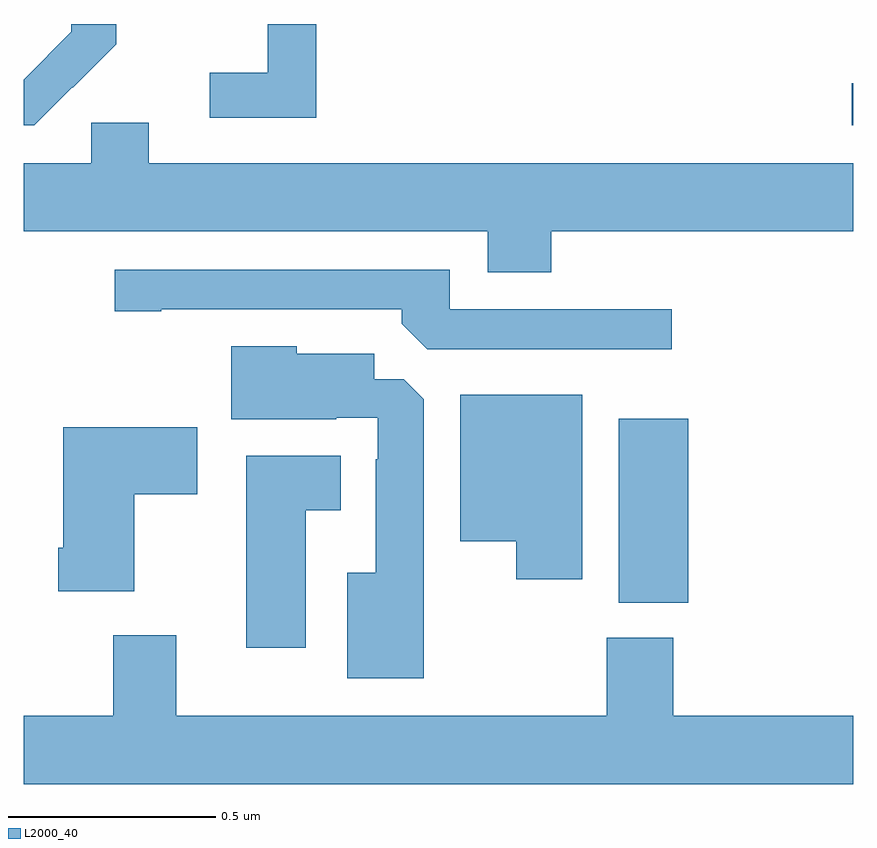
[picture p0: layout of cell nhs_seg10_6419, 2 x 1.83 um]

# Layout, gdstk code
import gdstk
lib = gdstk.Library(unit=1e-6, precision=1e-09)
def R(c, l, rs):  # rectangles x0, y0, x1, y1
    for r in rs: c.add(gdstk.rectangle(r[:2], r[2:], *l))
def P(c, l, *ps):  # polygons
    for p in ps: c.add(gdstk.Polygon(p, *l))
L2000_40 = (2000, 40)

nhs_seg10_6419 = lib.new_cell('nhs_seg10_6419')
R(nhs_seg10_6419, L2000_40, [(192.434,1282.105,192.602,1282.549), (192.996,1283.256,193,1283.357)])
P(nhs_seg10_6419, L2000_40, [(191.117,1283.347),(191.118,1283.346),(191.223,1283.451),(191.223,1283.5),(191.115,1283.5),(191.115,1283.481),(191,1283.366),(191,1283.256),(191.026,1283.256)],
  [(191.705,1283.5),(191.588,1283.5),(191.588,1283.383),(191.448,1283.383),(191.448,1283.274),(191.705,1283.274)],
  [(192.272,1283),(193,1283),(193,1283.164),(191.302,1283.164),(191.302,1283.262),(191.163,1283.262),(191.163,1283.164),(191,1283.164),(191,1283),(192.119,1283),(192.119,1282.901),(192.272,1282.901)],
  [(192.562,1282.812),(192.027,1282.812),(192.027,1282.908),(191.22,1282.908),(191.22,1282.807),(191.332,1282.807),(191.332,1282.812),(191.912,1282.812),(191.912,1282.778),(191.973,1282.716),(192.562,1282.716)],
  [(191.965,1282.595),(191.916,1282.644),(191.845,1282.644),(191.845,1282.705),(191.658,1282.705),(191.658,1282.723),(191.501,1282.723),(191.501,1282.547),(191.753,1282.547),(191.753,1282.551),(191.853,1282.551),(191.853,1282.451),(191.849,1282.451),(191.849,1282.177),(191.78,1282.177),(191.78,1281.923),(191.965,1281.923)],
  [(192.346,1282.606),(192.053,1282.606),(192.053,1282.253),(192.188,1282.253),(192.188,1282.161),(192.346,1282.161)],
  [(191.266,1282.366),(191.419,1282.366),(191.419,1282.528),(191.096,1282.528),(191.096,1282.237),(191.084,1282.237),(191.084,1282.133),(191.266,1282.133)],
  [(191.68,1282.328),(191.764,1282.328),(191.764,1282.459),(191.537,1282.459),(191.537,1281.996),(191.68,1281.996)],
  [(193,1281.832),(192.566,1281.832),(192.566,1282.02),(192.406,1282.02),(192.406,1281.832),(191.368,1281.832),(191.368,1282.027),(191.216,1282.027),(191.216,1281.832),(191,1281.832),(191,1281.668),(193,1281.668)])

lib.write_gds('nhs_seg10_6419.gds')
